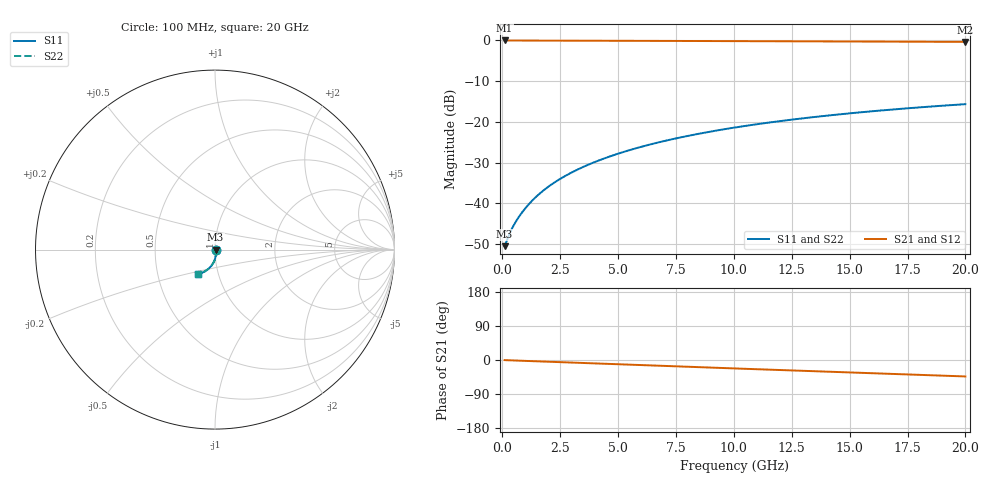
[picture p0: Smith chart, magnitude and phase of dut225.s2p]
! Touchstone file exported from HFSS 2026.1.0
!  File:  C:/ffzhzh/LocalFiles/Ansys_Project_Files/temp_train_BSMRDL_225_1782988132_6248.aedt
!  Generated:  06:30:02 PM Jul  2, 2026
!  Design:  BSMRDL
!  Project:  temp_train_BSMRDL_225_1782988132_6248
! Variables:
!  h_bsmrdl = 3.86um
!  h_ox = 20um
!  h_rdl = 5um
!  h_sub = 80um
!  h_tmrdl = 5um
!  h_tsv = 80um
!  h_via = 3um
!  l_bsmrdl = 753.81um
!  l_sub = 1153.81um
!  l_tmrdl = 200um
!  m_sub = 200um
!  pitch = 29.17um
!  r_tsv = 6um
!  s_tmrdl = 10um
!  w_bsmrdl = 26.66um
!  w_sub = 500um
!  w_tmrdl = 12um
!  x_tsv_center1 = 206um
!  x_tsv_center2 = 986.47um
!  x_tsv_center3 = 1198.47um
!  x_tsv_center4 = 1978.94um
!  x_tsv_center5 = 2190.94um
!  x_tsv_center6 = 2971.41um
# GHz S MA R 50.000000
! Terminal data exported
! Port[1] = BSM_RDL1_1_T1
! Port[2] = BSM_RDL1_1_T2
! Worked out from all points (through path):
!   200 points, 100 MHz to 20 GHz, reference 50 ohm
!   highest |S21| = -0.03 dB at 100 MHz (marker M1); lowest = -0.4 dB at 20 GHz (marker M2)
!   group delay of S21, straight-line fit = 6 ps
!   lowest |S11| = -50.5 dB at 100 MHz (marker M3), VSWR 1.01, Z = 50.3 + j0.0102 ohm
!   |S11| at or under -10 dB: start of sweep to end of sweep
!   |S22| runs from -50.5 to -15.7 dB; largest |S21 - S12| = 3.2e-15
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0.1  0.002984 1.9  0.997 -0.3  0.997 -0.3  0.002984 1.9
! Gamma 0 0 0 0
! Port Impedance 50 0 50 0
0.3  0.00415 -8.2  0.9959 -0.8  0.9959 -0.8  0.00415 -8.2
0.4  0.00479 -15.9  0.9954 -1.0  0.9954 -1.0  0.00479 -15.9
0.6  0.00607 -29.9  0.9946 -1.5  0.9946 -1.5  0.006069 -29.9
0.9  0.008059 -44.8  0.994 -2.1  0.994 -2.1  0.008058 -44.8
1.1  0.009446 -51.7  0.9938 -2.6  0.9938 -2.6  0.009444 -51.7
1.3  0.01087 -57.0  0.9935 -3.0  0.9935 -3.0  0.01087 -57.0
1.5  0.01233 -61.1  0.9933 -3.5  0.9933 -3.5  0.01233 -61.2
1.8  0.01457 -65.9  0.993 -4.1  0.993 -4.1  0.01457 -65.9
2.3  0.01841 -71.5  0.9924 -5.3  0.9924 -5.3  0.01841 -71.5
2.9  0.02316 -76.1  0.9916 -6.6  0.9916 -6.6  0.02315 -76.1
3.5  0.02804 -79.5  0.9907 -8.0  0.9907 -8.0  0.02803 -79.5
4.2  0.03388 -82.6  0.9896 -9.5  0.9896 -9.5  0.03387 -82.7
5  0.0407 -85.7  0.9882 -11.3  0.9882 -11.3  0.04069 -85.7
5.9  0.04853 -88.7  0.9865 -13.3  0.9865 -13.3  0.04852 -88.7
6.8  0.05647 -91.4  0.9848 -15.3  0.9848 -15.3  0.05645 -91.5
8.4  0.07068 -96.0  0.9817 -18.7  0.9817 -18.7  0.07065 -96.1
10.1  0.08571 -100.6  0.9783 -22.4  0.9783 -22.4  0.08568 -100.7
11.7  0.09963 -104.8  0.9752 -25.8  0.9752 -25.8  0.09959 -104.9
13.4  0.1141 -109.0  0.9717 -29.5  0.9717 -29.5  0.114 -109.2
16.7  0.1406 -117.0  0.9649 -36.5  0.9649 -36.5  0.1405 -117.1
20  0.1648 -124.6  0.9578 -43.4  0.9578 -43.4  0.1647 -124.7
